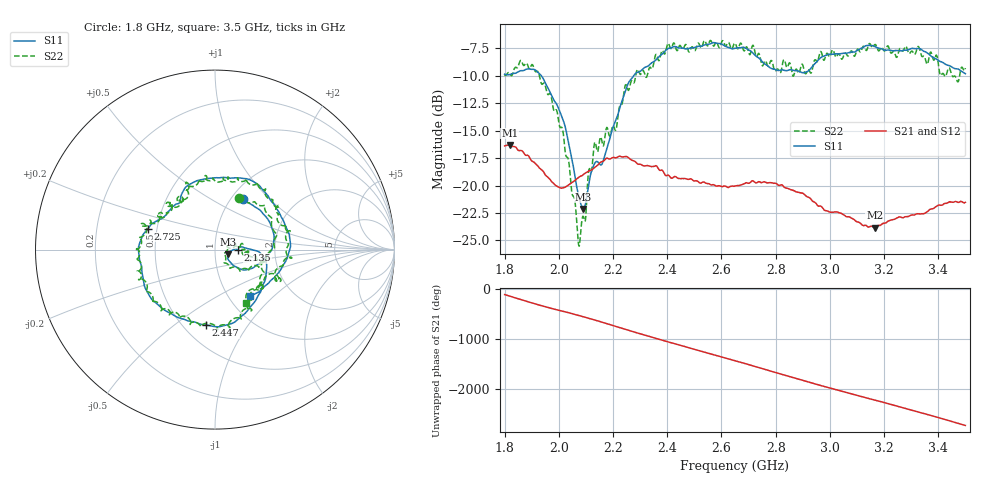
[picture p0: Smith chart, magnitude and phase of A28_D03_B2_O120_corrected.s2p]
! Created with skrf 1.9.0 (http://scikit-rf.org).
# Hz S RI R 50.0
!freq ReS11 ImS11 ReS21 ImS21 ReS12 ImS12 ReS22 ImS22
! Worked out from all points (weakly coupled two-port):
!   1601 points, 1.8 GHz to 3.5 GHz, reference 50 ohm
!   highest |S21| = -16.29 dB at 1.819 GHz (marker M1); lowest = -23.8 dB at 3.165 GHz (marker M2)
!   lowest |S11| = -22.1 dB at 2.09 GHz (marker M3), VSWR 1.17, Z = 57.9 - j2.96 ohm
!   |S11| at or under -10 dB: 1.936 GHz to 2.276 GHz (339.9 MHz wide, 16.1 % of centre)
!   |S22| runs from -25.5 to -6.8 dB; largest |S21 - S12| = 0.0028
!   S11 on the Smith chart (normalised r, x): 1.8 GHz: 1.13, +0.71; 2.135 GHz: 1.29, -0.00; 2.447 GHz: 0.64, -0.66; 2.725 GHz: 0.45, +0.12; 3.5 GHz: 1.25, -0.72
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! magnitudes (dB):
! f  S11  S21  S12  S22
! 1.8 GHz  -9.8  -16.4  -16.4  -9.9
! 1.819 GHz  -9.9  -16.3  -16.3  -9.8
! 1.903 GHz  -9.4  -17.8  -17.8  -9.0
! 1.968 GHz  -11.5  -19.5  -19.5  -11.6
! 2.015 GHz  -14.0  -20.2  -20.2  -15.0
! 2.072 GHz  -20.8  -19.3  -19.3  -25.3
! 2.084 GHz  -21.8  -19.1  -19.1  -23.4
! 2.09 GHz  -22.1  -19.0  -19.1  -22.8
! 2.135 GHz  -17.9  -18.3  -18.3  -16.1
! 2.163 GHz  -17.8  -17.8  -17.7  -16.4
! 2.26 GHz  -10.5  -17.5  -17.5  -11.2
! 2.367 GHz  -8.3  -18.5  -18.4  -8.6
! 2.447 GHz  -7.5  -19.4  -19.4  -7.2
! 2.65 GHz  -7.5  -20.0  -20.0  -7.0
! 2.725 GHz  -8.2  -19.7  -19.7  -8.0
! 2.809 GHz  -9.5  -20.0  -19.9  -9.4
! 2.934 GHz  -9.2  -21.4  -21.3  -9.6
! 3.165 GHz  -7.3  -23.8  -23.8  -7.2
! 3.217 GHz  -7.6  -23.2  -23.2  -7.4
! 3.327 GHz  -7.5  -22.6  -22.5  -7.3
! 3.469 GHz  -9.3  -21.5  -21.5  -10.5
! 3.5 GHz  -9.8  -21.5  -21.5  -9.3
